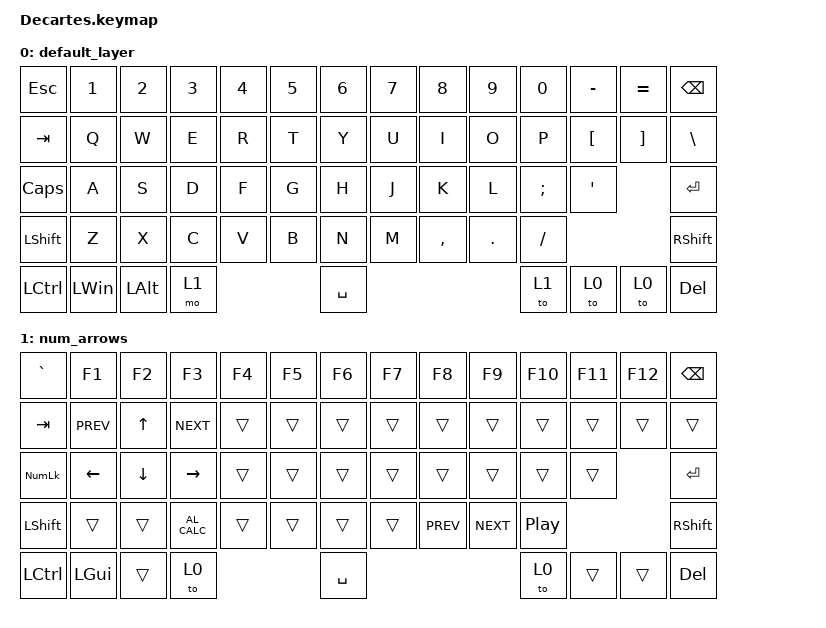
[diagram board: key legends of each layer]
#include <behaviors.dtsi>
#include <dt-bindings/zmk/bt.h>
#include <dt-bindings/zmk/keys.h>

#define DEFAULT 0

/ {
    combos {
        compatible = "zmk,combos";

        BT0 {
            bindings = <&bt BT_SEL 0>;
            key-positions = <1 46>;
        };

        BT1 {
            bindings = <&bt BT_SEL 1>;
            key-positions = <2 46>;
        };

        BT2 {
            bindings = <&bt BT_SEL 2>;
            key-positions = <3 46>;
        };

        BT_Clear {
            bindings = <&bt BT_CLR_ALL>;
            key-positions = <0 46>;
        };
    };

    keymap {
        compatible = "zmk,keymap";

        default_layer {
            bindings = <
&kp ESC    &kp N1    &kp N2    &kp N3  &kp N4  &kp N5  &kp N6             &kp N7  &kp N8     &kp N9   &kp N0    &kp MINUS  &kp EQUAL  &kp BSPC
&kp TAB    &kp Q     &kp W     &kp E   &kp R   &kp T   &kp Y              &kp U   &kp I      &kp O    &kp P     &kp LBKT   &kp RBKT   &kp BSLH
&kp CAPS   &kp A     &kp S     &kp D   &kp F   &kp G   &kp H              &kp J   &kp K      &kp L    &kp SEMI  &kp SQT               &kp ENTER
&kp LSHFT  &kp Z     &kp X     &kp C   &kp V   &kp B   &kp N              &kp M   &kp COMMA  &kp DOT  &kp FSLH                        &kp RSHFT
&kp LCTRL  &kp LWIN  &kp LALT  &mo 1                           &kp SPACE                              &to 1     &to 0      &to 0      &kp DEL
            >;
        };

        num_arrows {
            bindings = <
&kp GRAVE       &kp F1      &kp F2    &kp F3         &kp F4  &kp F5  &kp F6             &kp F7  &kp F8      &kp F9      &kp F10   &kp F11  &kp F12  &kp BSPC
&kp TAB         &kp C_PREV  &kp UP    &kp C_NEXT     &trans  &trans  &trans             &trans  &trans      &trans      &trans    &trans   &trans   &trans
&kp KP_NUMLOCK  &kp LEFT    &kp DOWN  &kp RIGHT      &trans  &trans  &trans             &trans  &trans      &trans      &trans    &trans          &kp RET
&kp LSHFT       &trans      &trans    &kp C_AL_CALC  &trans  &trans  &trans             &trans  &kp C_PREV  &kp C_NEXT  &kp C_PP                    &kp RSHFT
&kp LCTRL       &kp LGUI    &trans    &to 0                                  &kp SPACE                                  &to 0     &trans   &trans   &kp DEL
            >;
        };
    };
};
